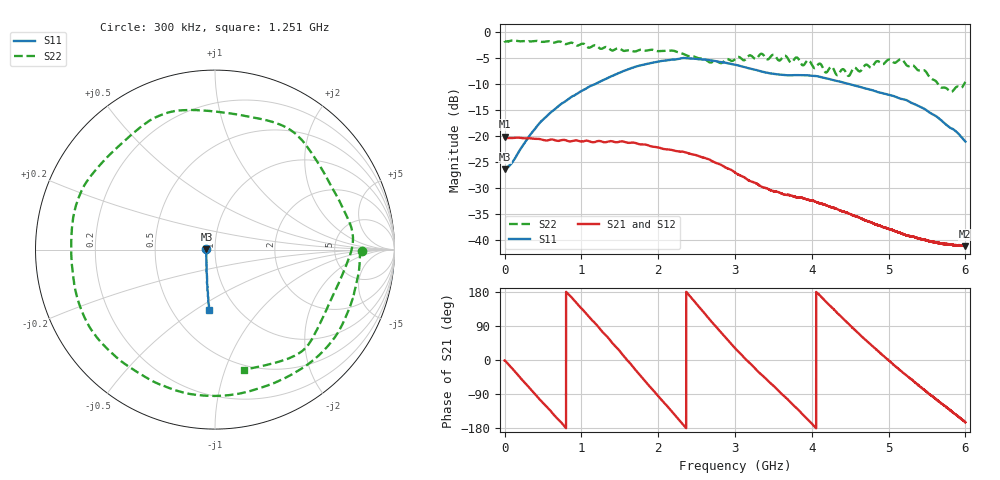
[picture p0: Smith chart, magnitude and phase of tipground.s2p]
!  8/12/2020  02:39:55
! Ref Plane: 0.000 mm
# MHZ S MA R  50
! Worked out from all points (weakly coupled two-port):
!   10001 points, 300 kHz to 6 GHz, reference 50 ohm
!   highest |S21| = -20.13 dB at 300 kHz (marker M1); lowest = -41.2 dB at 5.994 GHz (marker M2)
!   lowest |S11| = -26.4 dB at 900 kHz (marker M3), VSWR 1.10, Z = 45.5 + j0.105 ohm
!   |S11| at or under -10 dB: start of sweep to 1.185 GHz; 4.478 GHz to end of sweep
!   |S22| runs from -11.5 to -1.6 dB; largest |S21 - S12| = 0.0015
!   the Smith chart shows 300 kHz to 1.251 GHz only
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0.3  0.0483 177.2  0.0985 -1.1  0.09701 -1.0  0.8187 -0.5
0.9  0.04768 178.6  0.09457 -0.6  0.09571 -0.4  0.8108 -0.6
255.2873  0.08434 -124.2  0.09468 -58.3  0.09447 -58.2  0.8153 -91.8
505.4747  0.1442 -108.3  0.09126 -114.8  0.09108 -114.6  0.8012 179.2
744.8628  0.2048 -101.9  0.091 -166.4  0.09095 -166.0  0.7954 102.2
1000.45  0.2697 -98.0  0.08815 136.2  0.088 136.5  0.7667 10.6
1286.636  0.3448 -95.5  0.08703 71.7  0.08684 71.8  0.6997 -91.1
1515.824  0.4104 -95.5  0.08841 19.4  0.08831 19.6  0.6778 -169.6
1763.012  0.4762 -97.6  0.08282 -39.7  0.08283 -39.5  0.6716 99.1
2000.6  0.5171 -100.5  0.07735 -95.4  0.07733 -95.2  0.6519 20.4
2311.384  0.5582 -104.7  0.07053 -167.0  0.07054 -166.9  0.6197 -75.9
2590.97  0.5426 -109.2  0.06171 126.1  0.0615 126.3  0.5506 -173.7
3000.15  0.484 -111.3  0.04442 31.2  0.04429 31.4  0.5453 29.3
3355.932  0.4139 -108.3  0.0322 -40.8  0.03196 -40.6  0.6129 -81.3
3652.917  0.3841 -101.3  0.02717 -97.7  0.02692 -97.6  0.5901 -176.3
4000.3  0.3786 -97.8  0.02394 -167.8  0.02378 -167.6  0.4842 74.1
4414.279  0.325 -96.3  0.01859 108.2  0.01857 108.8  0.4368 -79.8
4703.465  0.2852 -93.0  0.0153 52.5  0.0152 53.0  0.4841 171.6
5000.45  0.2485 -89.4  0.01273 -0.7  0.01267 -0.4  0.542 80.8
5491.825  0.1764 -84.5  0.009888 -83.5  0.009872 -83.2  0.4093 -59.8
5994  0.08891 -67.5  0.00868 -162.9  0.00874 -163.1  0.3247 88.3
6000  0.0881 -67.1  0.008726 -164.3  0.008688 -164.2  0.3298 86.5
